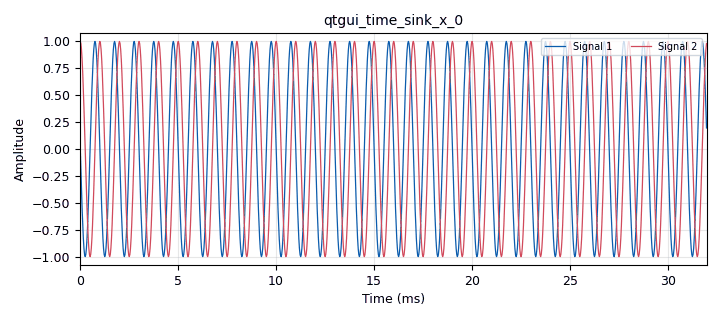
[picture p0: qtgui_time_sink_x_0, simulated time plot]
options:
  parameters:
    generate_options: qt_gui
    id: faza_1
    output_language: python
    title: Not titled yet
  states: {}

blocks:
- name: fft_size
  id: variable
  parameters:
    value: '1024'
  states: {}
- name: frequency
  id: variable
  parameters:
    value: '1000'
  states: {}
- name: initial_phase
  id: variable
  parameters:
    value: '2'
  states: {}
- name: samp_rate
  id: variable
  parameters:
    value: '32000'
  states: {}
- name: skip_head
  id: variable
  parameters:
    value: (frequency*fft_size)/samp_rate
  states: {}
- name: analog_sig_source_x_0
  id: analog_sig_source_x
  parameters:
    amp: '1'
    freq: '1000'
    offset: '0'
    phase: 3.14/2
    samp_rate: '32000'
    type: float
    waveform: analog.GR_COS_WAVE
  states: {}
- name: analog_sig_source_x_0_0
  id: analog_sig_source_x
  parameters:
    amp: '1'
    freq: frequency
    offset: '0'
    phase: '0'
    samp_rate: samp_rate
    type: float
    waveform: analog.GR_COS_WAVE
  states: {}
- name: blocks_complex_to_arg_0
  id: blocks_complex_to_arg
  parameters: {}
  states: {}
- name: blocks_complex_to_arg_0_0
  id: blocks_complex_to_arg
  parameters: {}
  states: {}
- name: blocks_keep_one_in_n_0
  id: blocks_keep_one_in_n
  parameters:
    n: fft_size
    type: complex
  states: {}
- name: blocks_keep_one_in_n_0_0
  id: blocks_keep_one_in_n
  parameters:
    n: fft_size
    type: complex
  states: {}
- name: blocks_skiphead_0
  id: blocks_skiphead
  parameters:
    num_items: '32'
    type: complex
  states: {}
- name: blocks_skiphead_0_0
  id: blocks_skiphead
  parameters:
    num_items: '32'
    type: complex
  states: {}
- name: blocks_stream_to_vector_0
  id: blocks_stream_to_vector
  parameters:
    num_items: fft_size
    type: float
  states: {}
- name: blocks_stream_to_vector_0_0
  id: blocks_stream_to_vector
  parameters:
    num_items: fft_size
    type: float
  states: {}
- name: blocks_vector_to_stream_0
  id: blocks_vector_to_stream
  parameters:
    num_items: fft_size
    type: complex
  states: {}
- name: blocks_vector_to_stream_0_0
  id: blocks_vector_to_stream
  parameters:
    num_items: fft_size
    type: complex
  states: {}
- name: fft_vxx_0
  id: fft_vxx
  parameters:
    fft_size: fft_size
    forward: 'True'
    shift: 'True'
    type: float
    window: window.blackmanharris(1024)
  states: {}
- name: fft_vxx_0_0
  id: fft_vxx
  parameters:
    fft_size: fft_size
    forward: 'True'
    shift: 'True'
    type: float
    window: window.blackmanharris(1024)
  states: {}
- name: qtgui_time_sink_x_0
  id: qtgui_time_sink_x
  parameters:
    nconnections: '2'
    size: '1024'
    srate: samp_rate
    type: float
  states: {}
- name: sygnal1
  id: qtgui_number_sink
  parameters:
    color1: ("black", "red")
    graph_type: qtgui.NUM_GRAPH_HORIZ
    max: '4'
    min: '-4'
    name: '"sygnal1"'
    type: float
  states: {}
- name: sygnal2
  id: qtgui_number_sink
  parameters:
    graph_type: qtgui.NUM_GRAPH_HORIZ
    max: '4'
    min: '-4'
    name: '"sygnal2"'
    type: float
  states: {}

connections:
- [analog_sig_source_x_0, '0', blocks_stream_to_vector_0, '0']
- [analog_sig_source_x_0, '0', qtgui_time_sink_x_0, '0']
- [analog_sig_source_x_0_0, '0', blocks_stream_to_vector_0_0, '0']
- [analog_sig_source_x_0_0, '0', qtgui_time_sink_x_0, '1']
- [blocks_complex_to_arg_0, '0', sygnal1, '0']
- [blocks_complex_to_arg_0_0, '0', sygnal2, '0']
- [blocks_keep_one_in_n_0, '0', blocks_complex_to_arg_0, '0']
- [blocks_keep_one_in_n_0_0, '0', blocks_complex_to_arg_0_0, '0']
- [blocks_skiphead_0, '0', blocks_keep_one_in_n_0, '0']
- [blocks_skiphead_0_0, '0', blocks_keep_one_in_n_0_0, '0']
- [blocks_stream_to_vector_0, '0', fft_vxx_0, '0']
- [blocks_stream_to_vector_0_0, '0', fft_vxx_0_0, '0']
- [blocks_vector_to_stream_0, '0', blocks_skiphead_0, '0']
- [blocks_vector_to_stream_0_0, '0', blocks_skiphead_0_0, '0']
- [fft_vxx_0, '0', blocks_vector_to_stream_0, '0']
- [fft_vxx_0_0, '0', blocks_vector_to_stream_0_0, '0']

metadata:
  file_format: 1
